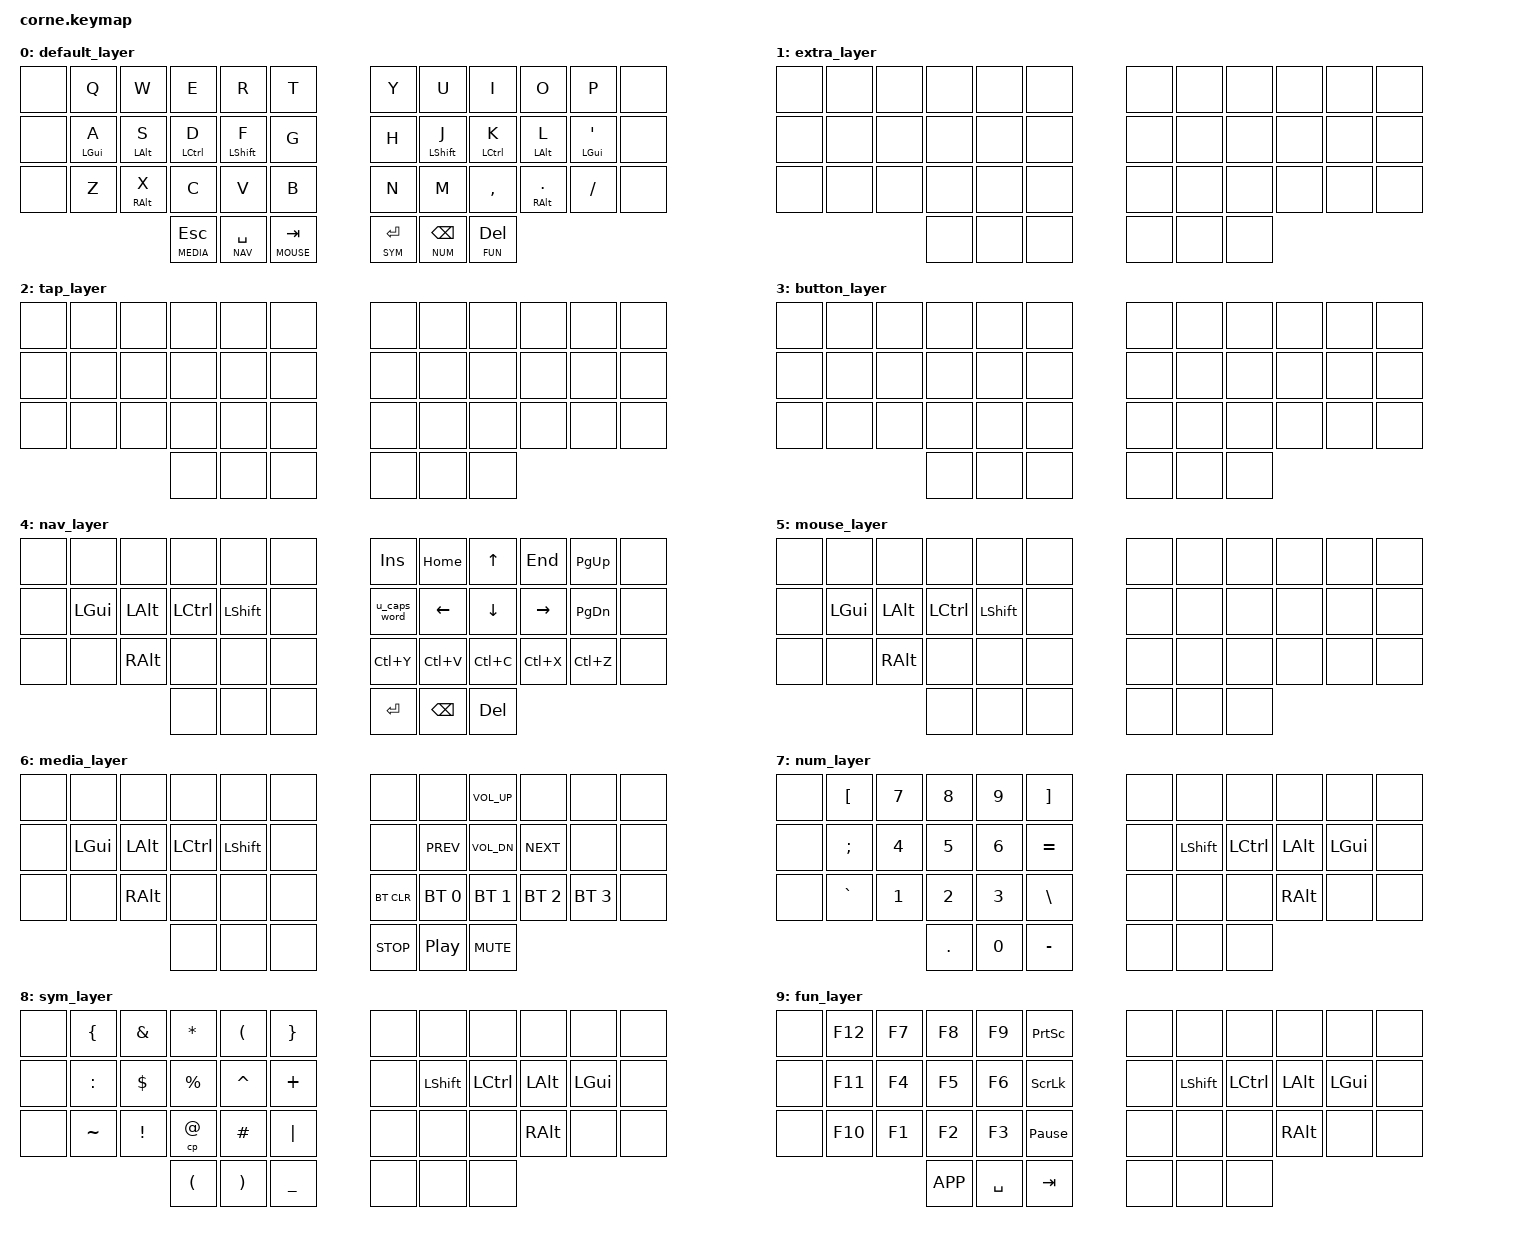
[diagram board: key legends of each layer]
/*
 * Copyright (c) 2020 The ZMK Contributors
 *
 * SPDX-License-Identifier: MIT
 */

#include <behaviors.dtsi>
#include <dt-bindings/zmk/keys.h>
#include <dt-bindings/zmk/bt.h>


#define BASE   0
#define EXTRA  1
#define TAP    2
#define BUTTON 3
#define NAV    4
#define MOUSE  5
#define MEDIA  6
#define NUM    7
#define SYM    8
#define FUN    9

#define LEFT_KEYS 1 2 3 4 5 13 14 15 16 17 25 26 27 28 29  // left-hand keys
#define RIGHT_KEYS 6 7 8 9 10 18 19 20 21 22 30 31 32 33 34  // right-hand keys
#define THUMBS 36 37 38 39 40 41  // thumbs

#define TAPPING_TERM 280
#define QUICK_TAP 175

#define U_RDO &kp LC(Y)
#define U_PST &kp LC(V)
#define U_CPY &kp LC(C)
#define U_CUT &kp LC(X)
#define U_UND &kp LC(Z)

/ {
        behaviors {
          u_mt_l: u_mt_l {
            compatible = "zmk,behavior-hold-tap";
            #binding-cells = <2>;
            label = "u_mt_l";
            flavor = "balanced";
            tapping_term_ms = <TAPPING_TERM>;
            quick-tap-ms = <QUICK_TAP>;
            global-quick-tap;
            bindings = <&kp>, <&kp>;
            hold-trigger-key-positions = <RIGHT_KEYS THUMBS>;
            hold-trigger-on-release;
          };
          u_mt_r: u_mt_r {
            compatible = "zmk,behavior-hold-tap";
            label = "u_mt_r";
            #binding-cells = <2>;
            tapping_term_ms = <TAPPING_TERM>;
            quick-tap-ms = <QUICK_TAP>;
            global-quick-tap;
            flavor = "balanced";
            bindings = <&kp>, <&kp>;
            hold-trigger-key-positions = <LEFT_KEYS THUMBS>;
            hold-trigger-on-release;
          };
          u_lt: u_lt {
            compatible = "zmk,behavior-hold-tap";
            label = "u_lt";
            #binding-cells = <2>;
            tapping_term_ms = <TAPPING_TERM>;
            quick-tap-ms = <QUICK_TAP>;
            flavor = "balanced";
            bindings = <&mo>, <&kp>;
          };
          u_caps_word: u_caps_word {
            compatible = "zmk,behavior-mod-morph";
            label = "u_caps_word";
            #binding-cells = <0>;
            bindings = <&caps_word>, <&kp CAPS>;
            mods = <(MOD_LSFT|MOD_RSFT)>;
          };
        };

        keymap {
                compatible = "zmk,keymap";

                default_layer {
                        bindings = <
   &none &kp Q           &kp W           &kp E            &kp R            &kp T                  &kp Y          &kp U            &kp I            &kp O             &kp P             &none 
   &none &u_mt_l LGUI A  &u_mt_l LALT S  &u_mt_l LCTRL D  &u_mt_l LSHFT F  &kp G                  &kp H          &u_mt_r LSHFT J  &u_mt_r LCTRL K  &u_mt_r LALT L    &u_mt_r LGUI SQT  &none
   &none &kp Z           &u_mt_l RALT X  &kp C            &kp V            &kp B                  &kp N          &kp M            &kp COMMA        &u_mt_r RALT DOT  &kp FSLH          &none
                                         &u_lt MEDIA ESC  &u_lt NAV SPACE  &u_lt MOUSE TAB        &u_lt SYM RET  &u_lt NUM BSPC   &u_lt FUN DEL
                        >;
                };
                extra_layer {
                        bindings = <
   &none &none           &none           &none            &none            &none                  &none          &none            &none            &none             &none             &none
   &none &none           &none           &none            &none            &none                  &none          &none            &none            &none             &none             &none
   &none &none           &none           &none            &none            &none                  &none          &none            &none            &none             &none             &none
                                         &none            &none            &none                  &none          &none            &none
                        >;
                };

                tap_layer {
                        bindings = <
   &none &none           &none           &none            &none            &none                  &none          &none            &none            &none             &none             &none
   &none &none           &none           &none            &none            &none                  &none          &none            &none            &none             &none             &none
   &none &none           &none           &none            &none            &none                  &none          &none            &none            &none             &none             &none
                                         &none            &none            &none                  &none          &none            &none
                        >;
                };

                button_layer {
                        bindings = <
   &none &none           &none           &none            &none            &none                  &none          &none            &none            &none             &none             &none
   &none &none           &none           &none            &none            &none                  &none          &none            &none            &none             &none             &none
   &none &none           &none           &none            &none            &none                  &none          &none            &none            &none             &none             &none
                                         &none            &none            &none                  &none          &none            &none
                        >;
                };

                nav_layer {
                        bindings = <
   &none &none           &none           &none            &none            &none                  &kp INS        &kp HOME         &kp UP           &kp END           &kp PG_UP         &none
   &none &kp LGUI        &kp LALT        &kp LCTRL        &kp LSHFT        &none                  &u_caps_word   &kp LEFT         &kp DOWN         &kp RIGHT         &kp PG_DN         &none
   &none &none           &kp RALT        &none            &none            &none                  U_RDO          U_PST            U_CPY            U_CUT             U_UND             &none
                                         &none            &none            &none                  &kp RET        &kp BSPC         &kp DEL
                        >;
                };

                mouse_layer {
                        bindings = <
   &none &none           &none           &none            &none            &none                  &none          &none            &none            &none             &none             &none
   &none &kp LGUI        &kp LALT        &kp LCTRL        &kp LSHFT        &none                  &none          &none            &none            &none             &none             &none
   &none &none           &kp RALT        &none            &none            &none                  &none          &none            &none            &none             &none             &none
                                         &none            &none            &none                  &none          &none            &none
                        >;
                };

                media_layer {
                        bindings = <
   &none &none           &none           &none            &none            &none                  &none          &none            &kp C_VOL_UP     &none             &none             &none
   &none &kp LGUI        &kp LALT        &kp LCTRL        &kp LSHFT        &none                  &none          &kp C_PREV       &kp C_VOL_DN     &kp C_NEXT        &none             &none
   &none &none           &kp RALT        &none            &none            &none                  &bt BT_CLR     &bt BT_SEL 0     &bt BT_SEL 1     &bt BT_SEL 2      &bt BT_SEL 3      &none
                                         &none            &none            &none                  &kp C_STOP     &kp C_PP         &kp C_MUTE
                        >;
                };

                num_layer {
                        bindings = <
   &none &kp LBKT        &kp N7          &kp N8           &kp N9           &kp RBKT               &none          &none            &none            &none             &none             &none
   &none &kp SEMI        &kp N4          &kp N5           &kp N6           &kp EQUAL              &none          &kp LSHFT        &kp LCTRL        &kp LALT          &kp LGUI          &none
   &none &kp GRAVE       &kp N1          &kp N2           &kp N3           &kp BSLH               &none          &none            &none            &kp RALT          &none             &none
                                         &kp DOT          &kp N0           &kp MINUS              &none          &none            &none
                        >;
                };

                sym_layer {
                        bindings = <
   &none &kp LBRC        &kp AMPS        &kp ASTRK        &kp LPAR         &kp RBRC               &none          &none            &none            &none             &none             &none
   &none &kp COLON       &kp DLLR        &kp PRCNT        &kp CARET        &kp PLUS               &none          &kp LSHFT        &kp LCTRL        &kp LALT          &kp LGUI          &none
   &none &kp TILDE       &kp EXCL        &cp AT           &kp HASH         &kp PIPE               &none          &none            &none            &kp RALT          &none             &none
                                         &kp LPAR         &kp RPAR         &kp UNDER              &none          &none            &none
                        >;
                };

                fun_layer {
                        bindings = <
   &none &kp F12         &kp F7          &kp F8           &kp F9           &kp PSCRN              &none          &none            &none            &none             &none             &none
   &none &kp F11         &kp F4          &kp F5           &kp F6           &kp SLCK               &none          &kp LSHFT        &kp LCTRL        &kp LALT          &kp LGUI          &none
   &none &kp F10         &kp F1          &kp F2           &kp F3           &kp PAUSE_BREAK        &none          &none            &none            &kp RALT          &none             &none
                                         &kp K_APP        &kp SPACE        &kp TAB                &none          &none            &none
                        >;
                };
        };
};
